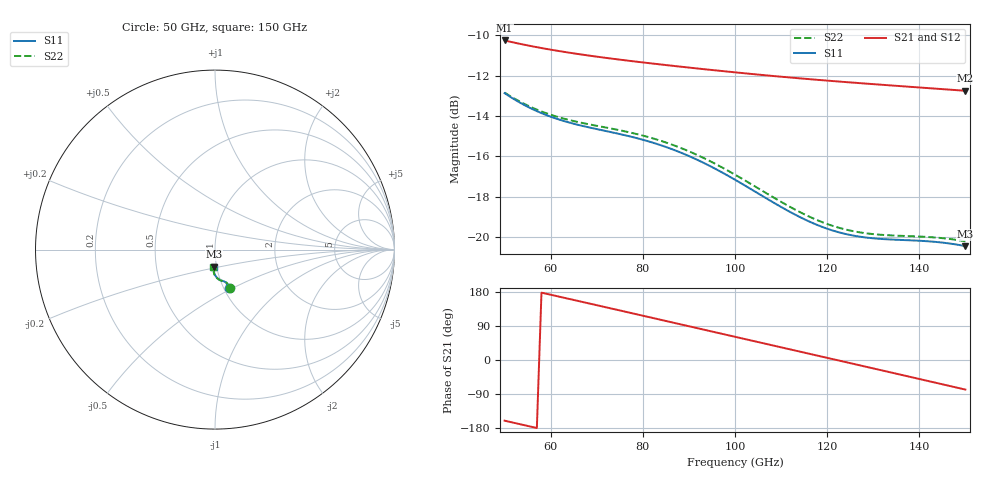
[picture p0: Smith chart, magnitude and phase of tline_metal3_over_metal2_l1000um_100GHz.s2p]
#  GHZ S DB R 50
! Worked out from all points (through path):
!   101 points, 50 GHz to 150 GHz, reference 50 ohm
!   highest |S21| = -10.26 dB at 50 GHz (marker M1); lowest = -12.7 dB at 150 GHz (marker M2)
!   group delay of S21, straight-line fit = 7.72 ps
!   lowest |S11| = -20.4 dB at 150 GHz (marker M3), VSWR 1.21, Z = 48.5 - j9.3 ohm
!   |S11| at or under -10 dB: start of sweep to end of sweep
!   |S22| runs from -20.2 to -12.8 dB; largest |S21 - S12| = 2.7e-13
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50  -12.87 -70.0  -10.26 -160.1  -10.26 -160.1  -12.84 -68.8
54  -13.42 -70.6  -10.46 -171.2  -10.46 -171.2  -13.36 -69.3
58  -13.85 -71.0  -10.63 177.7  -10.63 177.7  -13.77 -69.7
62  -14.18 -71.5  -10.79 166.7  -10.79 166.7  -14.07 -70.2
67  -14.49 -72.7  -10.96 152.9  -10.96 152.9  -14.35 -71.5
72  -14.74 -74.5  -11.12 139.1  -11.12 139.1  -14.57 -73.4
76  -14.94 -76.5  -11.23 128.0  -11.23 128.0  -14.75 -75.5
80  -15.17 -78.8  -11.34 116.9  -11.34 116.9  -14.97 -77.9
84  -15.45 -81.3  -11.45 105.8  -11.45 105.8  -15.23 -80.6
88  -15.79 -83.9  -11.55 94.6  -11.55 94.6  -15.56 -83.3
92  -16.18 -86.4  -11.65 83.5  -11.65 83.5  -15.95 -86.0
96  -16.64 -88.6  -11.74 72.4  -11.74 72.4  -16.40 -88.4
100  -17.15 -90.5  -11.84 61.3  -11.84 61.3  -16.90 -90.5
105  -17.82 -92.1  -11.95 47.4  -11.95 47.4  -17.57 -92.4
109  -18.37 -92.7  -12.03 36.3  -12.03 36.3  -18.11 -93.2
117  -19.31 -92.2  -12.19 14.0  -12.19 14.0  -19.07 -93.1
121  -19.65 -91.3  -12.26 2.9  -12.26 2.9  -19.42 -92.5
125  -19.88 -90.4  -12.33 -8.2  -12.33 -8.2  -19.67 -91.8
129  -20.03 -89.7  -12.40 -19.4  -12.40 -19.4  -19.82 -91.3
134  -20.11 -89.5  -12.49 -33.3  -12.49 -33.3  -19.91 -91.2
142  -20.20 -90.7  -12.62 -55.7  -12.62 -55.7  -19.99 -93.0
150  -20.44 -93.5  -12.75 -78.1  -12.75 -78.1  -20.20 -96.5
